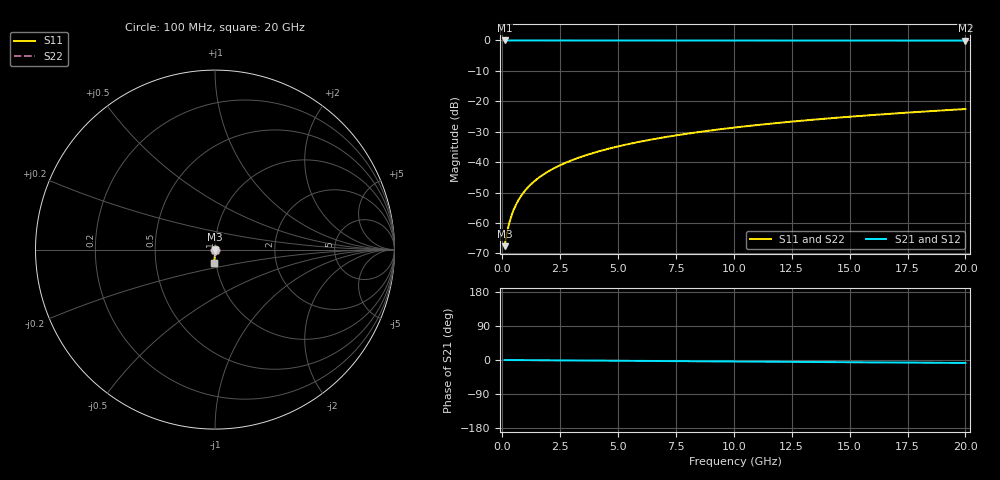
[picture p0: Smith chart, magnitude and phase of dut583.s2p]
! Touchstone file exported from HFSS 2026.1.0
!  File:  C:/ffzhzh/LocalFiles/Ansys_Project_Files/temp_train_TSV_583_1783025060_51716.aedt
!  Generated:  04:45:54 AM Jul  3, 2026
!  Design:  TSV
!  Project:  temp_train_TSV_583_1783025060_51716
! Variables:
!  h_bsmrdl = 2um
!  h_ox = 20um
!  h_rdl = 5um
!  h_sub = 71.24um
!  h_tmrdl = 5um
!  h_tsv = 71.24um
!  h_via = 3um
!  l_bsmrdl = 300um
!  l_sub = 411.64um
!  l_tmrdl = 200um
!  m_sub = 200um
!  pitch = 14.75um
!  r_tsv = 5.82um
!  s_tmrdl = 10um
!  w_bsmrdl = 18um
!  w_sub = 500um
!  w_tmrdl = 12um
!  x_tsv_center1 = 206um
!  x_tsv_center2 = 524um
!  x_tsv_center3 = 736um
!  x_tsv_center4 = 1054um
!  x_tsv_center5 = 1266um
!  x_tsv_center6 = 1584um
# GHz S MA R 50.000000
! Terminal data exported
! Port[1] = TSV1_1_T1
! Port[2] = TSV1_1_T2
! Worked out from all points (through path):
!   200 points, 100 MHz to 20 GHz, reference 50 ohm
!   highest |S21| = 0.00 dB at 100 MHz (marker M1); lowest = 0.0 dB at 20 GHz (marker M2)
!   group delay of S21, straight-line fit = 1.08 ps
!   lowest |S11| = -67.6 dB at 100 MHz (marker M3), VSWR 1.00, Z = 50 - j0.0295 ohm
!   |S11| at or under -10 dB: start of sweep to end of sweep
!   |S22| runs from -67.6 to -22.6 dB; largest |S21 - S12| = 1.1e-15
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0.1  0.0004157 -45.1  0.9997 -0.0  0.9997 -0.0  0.0004157 -45.1
! Gamma 0 0 0 0
! Port Impedance 50 0 50 0
0.2  0.0006836 -61.6  0.9997 -0.1  0.9997 -0.1  0.0006836 -61.6
0.3  0.0009956 -68.5  0.9996 -0.1  0.9996 -0.1  0.0009956 -68.5
0.4  0.00133 -72.3  0.9996 -0.2  0.9996 -0.2  0.00133 -72.3
0.5  0.001676 -74.8  0.9996 -0.2  0.9996 -0.2  0.001676 -74.8
0.7  0.002387 -78.1  0.9995 -0.3  0.9995 -0.3  0.002387 -78.1
0.8  0.002747 -79.3  0.9995 -0.3  0.9995 -0.3  0.002747 -79.3
1  0.003467 -81.0  0.9994 -0.4  0.9994 -0.4  0.003467 -81.0
1.2  0.004189 -82.3  0.9994 -0.5  0.9994 -0.5  0.004189 -82.3
1.4  0.004912 -83.2  0.9994 -0.6  0.9994 -0.6  0.004912 -83.2
1.7  0.005996 -84.3  0.9993 -0.7  0.9993 -0.7  0.005996 -84.3
2  0.007083 -85.1  0.9993 -0.8  0.9993 -0.8  0.007083 -85.1
2.7  0.009631 -86.3  0.9991 -1.1  0.9991 -1.1  0.009631 -86.3
3.5  0.01257 -87.1  0.999 -1.4  0.999 -1.4  0.01257 -87.1
4.2  0.01516 -87.8  0.9988 -1.7  0.9988 -1.7  0.01516 -87.8
5  0.01814 -88.4  0.9987 -2.0  0.9987 -2.0  0.01814 -88.4
6.8  0.02489 -89.5  0.9983 -2.7  0.9983 -2.7  0.02489 -89.5
8.3  0.03053 -90.4  0.998 -3.3  0.998 -3.3  0.03053 -90.4
10.1  0.03731 -91.4  0.9976 -4.0  0.9976 -4.0  0.03731 -91.4
13.4  0.04974 -93.0  0.9968 -5.3  0.9968 -5.3  0.04974 -93.0
16.7  0.06215 -94.5  0.9959 -6.5  0.9959 -6.5  0.06215 -94.5
20  0.07455 -96.0  0.9948 -7.8  0.9948 -7.8  0.07455 -96.0
